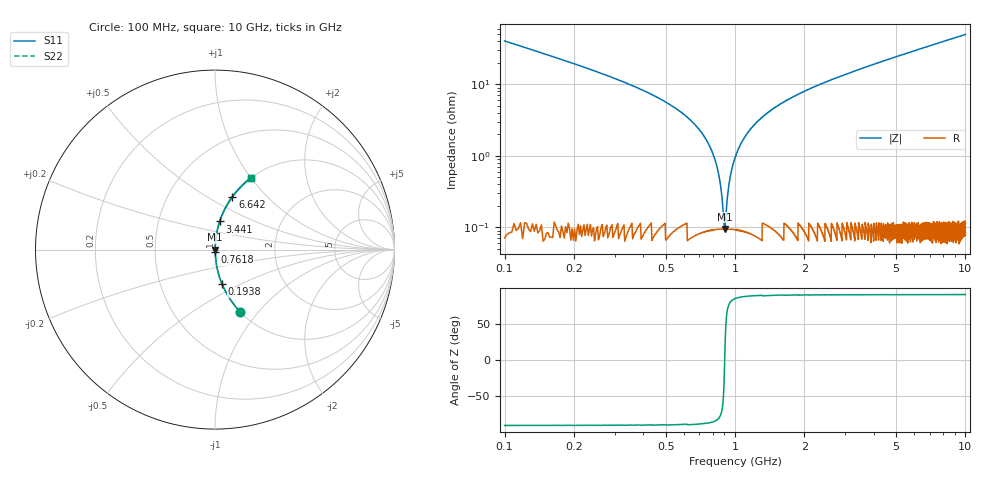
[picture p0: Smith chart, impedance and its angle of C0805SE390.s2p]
! AVX Thin Film Operation		Date: April 2012
! Description: Accu-P® Series, Thin Film, SMD, RF Capacitor
! Part Number: 08053K390FBTTR
!	100	MHz	-	10.05	GHz
!	Serial	Measurements
#	MHZ	S	MA	R	50
!	S11	S21	S12	S22
!	dB	Phase	dB	Phase	dB	Phase	dB	Phase
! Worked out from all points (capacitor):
!   4010 points, 100 MHz to 10 GHz, reference 50 ohm
!   read as one part in series: C = 39 pF near 149.4 MHz
!   lowest |Z| = 95.2 mohm at 902.6 MHz (marker M1)
!   series resonance near 902.1 MHz, so ESL is about 800 pH
!   S11 on the Smith chart (normalised r, x): 100 MHz: 1.00, -0.81; 193.8 MHz: 1.00, -0.40; 761.8 MHz: 1.00, -0.03; 3.441 GHz: 1.00, +0.32; 6.642 GHz: 1.00, +0.65; 10 GHz: 1.00, +0.99
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100  0.374 -67.9  0.927 21.9  0.927 21.9  0.374 -67.9
193.839  0.197 -78.4  0.98 11.3  0.98 11.3  0.197 -78.4
351.883  0.098 -83.9  0.994 5.6  0.994 5.6  0.098 -83.9
625.992  0.034 -86.5  0.999 1.9  0.999 1.9  0.034 -86.5
761.811  0.015 -85.8  0.999 0.9  0.999 0.9  0.015 -85.8
821.078  0.00856 -83.5  0.999 0.5  0.999 0.5  0.00856 -83.5
872.936  0.0031 -73.0  0.999 0.2  0.999 0.2  0.0031 -73.0
902.569  0.000901 3.2  0.999 -0.0  0.999 -0.0  0.000901 3.2
934.672  0.00334 74.2  0.999 -0.2  0.999 -0.2  0.00334 74.2
976.653  0.00725 82.5  0.999 -0.4  0.999 -0.4  0.00725 82.5
1013.694  0.011 84.5  0.999 -0.6  0.999 -0.6  0.011 84.5
1144.575  0.022 86.4  0.999 -1.2  0.999 -1.2  0.022 86.4
1389.05  0.04 86.4  0.998 -2.3  0.998 -2.3  0.04 86.4
1752.058  0.064 85.5  0.997 -3.7  0.997 -3.7  0.064 85.5
2428.685  0.104 83.5  0.994 -6.0  0.994 -6.0  0.104 83.5
3401.646  0.157 80.7  0.987 -9.0  0.987 -9.0  0.157 80.7
3441.157  0.159 80.6  0.986 -9.1  0.986 -9.1  0.159 80.6
5051.235  0.238 76.0  0.97 -13.8  0.97 -13.8  0.238 76.0
6641.556  0.311 71.8  0.95 -18.1  0.95 -18.1  0.311 71.8
6700.823  0.313 71.6  0.949 -18.2  0.949 -18.2  0.313 71.6
8350.412  0.382 67.4  0.923 -22.5  0.923 -22.5  0.382 67.4
10000  0.445 63.5  0.895 -26.4  0.895 -26.4  0.445 63.5
